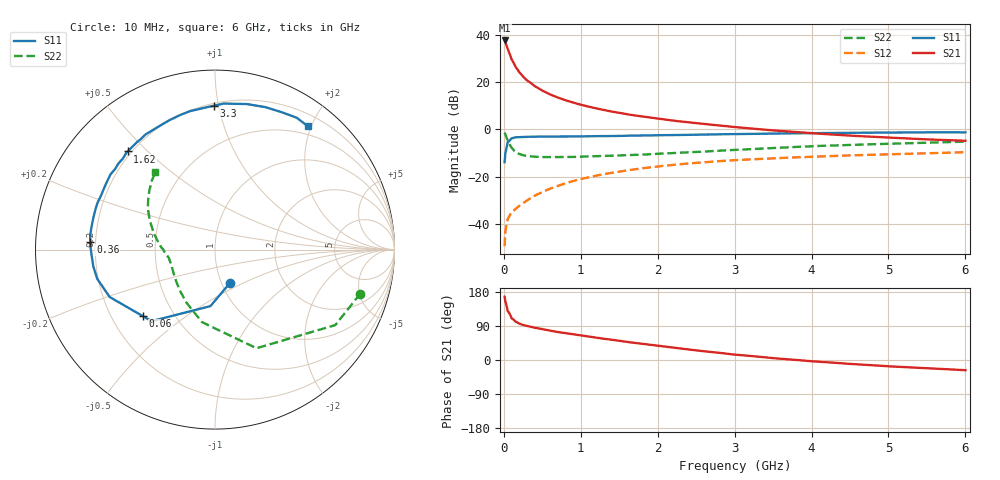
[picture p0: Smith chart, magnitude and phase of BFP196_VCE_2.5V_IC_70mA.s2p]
! Infineon Technologies  Discrete & RF Semiconductors
! BFP196
! VCE = 2.5 V,  IC =  70mA
! Common Emitter S-Parameters:  Jan 2016
# GHz  S  MA  R  50
!  f  S11  S21  S12  S22
! GHz  MAG  ANG  MAG  ANG  MAG  ANG  MAG  ANG
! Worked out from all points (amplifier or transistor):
!   210 points, 10 MHz to 6 GHz, reference 50 ohm
!   highest |S21| = 37.5 dB at 10 MHz (marker M1)
!   |S21| within 3 dB of that: start of sweep to 43.79 MHz
!   unconditionally stable (mu >= 1): 382.1 MHz to 4.498 GHz; 4.509 GHz to 4.767 GHz
!   at 185 MHz: K = 0.80, MSG = 28.8 dB, |S12| = -32.8 dB
!   at 1.52 GHz: K = 1.09, MAG = 10.5 dB, |S12| = -17.8 dB
!   at 6 GHz: K = 0.99, MSG = 2.4 dB, |S12| = -9.7 dB
!   S11 on the Smith chart (normalised r, x): 10 MHz: 1.10, -0.42; 60 MHz: 0.33, -0.35; 360 MHz: 0.18, +0.03; 1.62 GHz: 0.18, +0.44; 3.3 GHz: 0.22, +0.97; 6 GHz: 0.37, +1.95
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0.01  0.2024 -65.2  74.92 166.9  0.0034 77.6  0.8465 -16.8
0.02  0.3159 -94.6  69.35 153.9  0.007 69.7  0.7914 -32.1
0.05  0.5331 -131.6  49.97 129.3  0.0126 54.3  0.5962 -67.2
0.06  0.5465 -137.1  45.73 126.8  0.0136 53.0  0.5476 -71.9
0.1  0.6437 -155.8  30.19 110.4  0.0175 49.4  0.4104 -100.2
0.15  0.6761 -166.1  21.05 101.5  0.0206 52.5  0.3354 -118.4
0.2  0.6846 -172.2  16.09 96.1  0.024 56.1  0.3014 -130.2
0.24  0.6866 -176.1  13.5 93.2  0.0267 57.8  0.286 -137.1
0.3  0.6925 179.8  10.8 89.6  0.0313 61.3  0.2734 -144.6
0.36  0.6959 176.4  9.216 87.3  0.0362 62.9  0.2667 -149.5
0.4  0.6996 174.1  8.169 85.2  0.0394 63.8  0.2633 -152.9
0.5  0.6998 170.2  6.53 81.3  0.0472 64.8  0.2588 -158.4
0.6  0.7007 165.7  5.445 77.5  0.0555 65.0  0.2579 -162.1
0.8  0.7046 158.4  4.103 70.8  0.0719 64.0  0.26 -166.9
1.02  0.7076 150.3  3.233 64.2  0.0903 62.4  0.2638 -170.8
1.62  0.7321 131.7  2.047 47.3  0.1368 54.4  0.2851 -178.6
2.02  0.7493 120.6  1.656 37.2  0.1651 48.3  0.304 176.2
3.1  0.7926 94.2  1.078 12.6  0.2267 31.9  0.3724 160.7
3.3  0.802 90.4  1.009 9.0  0.2351 29.0  0.3868 157.8
4.1  0.8313 76.2  0.806 -4.6  0.2662 19.0  0.4441 147.3
5.1  0.8525 63.1  0.656 -17.6  0.2993 7.7  0.499 136.6
6  0.86 52.9  0.571 -26.9  0.3273 -2.3  0.5463 127.4
